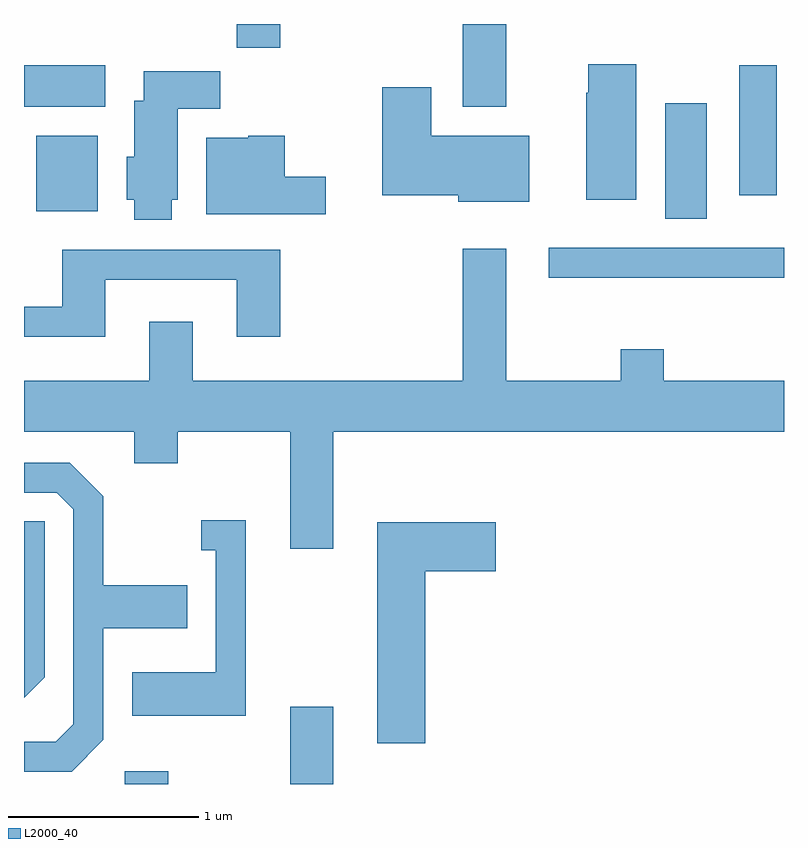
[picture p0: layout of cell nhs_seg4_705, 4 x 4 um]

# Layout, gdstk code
import gdstk
lib = gdstk.Library(unit=1e-6, precision=1e-09)
def R(c, l, rs):  # rectangles x0, y0, x1, y1
    for r in rs: c.add(gdstk.rectangle(r[:2], r[2:], *l))
def P(c, l, *ps):  # polygons
    for p in ps: c.add(gdstk.Polygon(p, *l))
L2000_40 = (2000, 40)

nhs_seg4_705 = lib.new_cell('nhs_seg4_705')
R(nhs_seg4_705, L2000_40, [(206.141,1303.982,206.369,1304.049), (207.011,1303.982,207.239,1304.389), (208.373,1306.646,209.611,1306.804), (208.986,1306.956,209.204,1307.564), (205.676,1306.996,205.999,1307.394), (209.376,1307.081,209.574,1307.764), (205.611,1307.546,206.039,1307.764), (207.921,1307.546,208.149,1307.982), (206.731,1307.856,206.959,1307.982)])
P(nhs_seg4_705, L2000_40, [(208.834,1307.769),(208.581,1307.769),(208.581,1307.62),(208.571,1307.62),(208.571,1307.056),(208.834,1307.056)],
  [(206.389,1307.056),(206.419,1307.056),(206.419,1307.536),(206.644,1307.536),(206.644,1307.734),(206.241,1307.734),(206.241,1307.579),(206.191,1307.579),(206.191,1307.284),(206.151,1307.284),(206.151,1307.056),(206.191,1307.056),(206.191,1306.951),(206.389,1306.951)],
  [(208.269,1307.394),(207.754,1307.394),(207.754,1307.649),(207.496,1307.649),(207.496,1307.081),(207.896,1307.081),(207.896,1307.046),(208.269,1307.046)],
  [(207.199,1307.179),(206.984,1307.179),(206.984,1307.394),(206.79,1307.394),(206.79,1307.384),(206.571,1307.384),(206.571,1306.981),(207.199,1306.981)],
  [(207.239,1305.836),(209.611,1305.836),(209.611,1306.104),(208.979,1306.104),(208.979,1306.269),(208.751,1306.269),(208.751,1306.104),(208.149,1306.104),(208.149,1306.799),(207.921,1306.799),(207.921,1306.104),(206.499,1306.104),(206.499,1306.414),(206.271,1306.414),(206.271,1306.104),(205.611,1306.104),(205.611,1305.836),(206.191,1305.836),(206.191,1305.671),(206.419,1305.671),(206.419,1305.836),(207.011,1305.836),(207.011,1305.221),(207.239,1305.221)],
  [(206.039,1306.636),(206.731,1306.636),(206.731,1306.336),(206.959,1306.336),(206.959,1306.794),(205.811,1306.794),(205.811,1306.494),(205.611,1306.494),(205.611,1306.336),(206.039,1306.336)],
  [(206.029,1304.214),(206.029,1304.801),(206.469,1304.801),(206.469,1305.029),(206.029,1305.029),(206.029,1305.497),(205.852,1305.674),(205.611,1305.674),(205.611,1305.516),(205.784,1305.516),(205.871,1305.429),(205.871,1304.297),(205.779,1304.204),(205.611,1304.204),(205.611,1304.046),(205.862,1304.046)],
  [(206.779,1305.369),(206.543,1305.369),(206.543,1305.211),(206.621,1305.211),(206.621,1304.569),(206.181,1304.569),(206.181,1304.341),(206.779,1304.341)],
  [(205.719,1304.544),(205.719,1305.364),(205.611,1305.364),(205.611,1304.435)],
  [(207.724,1305.101),(208.094,1305.101),(208.094,1305.359),(207.471,1305.359),(207.471,1304.196),(207.724,1304.196)])

lib.write_gds('nhs_seg4_705.gds')
